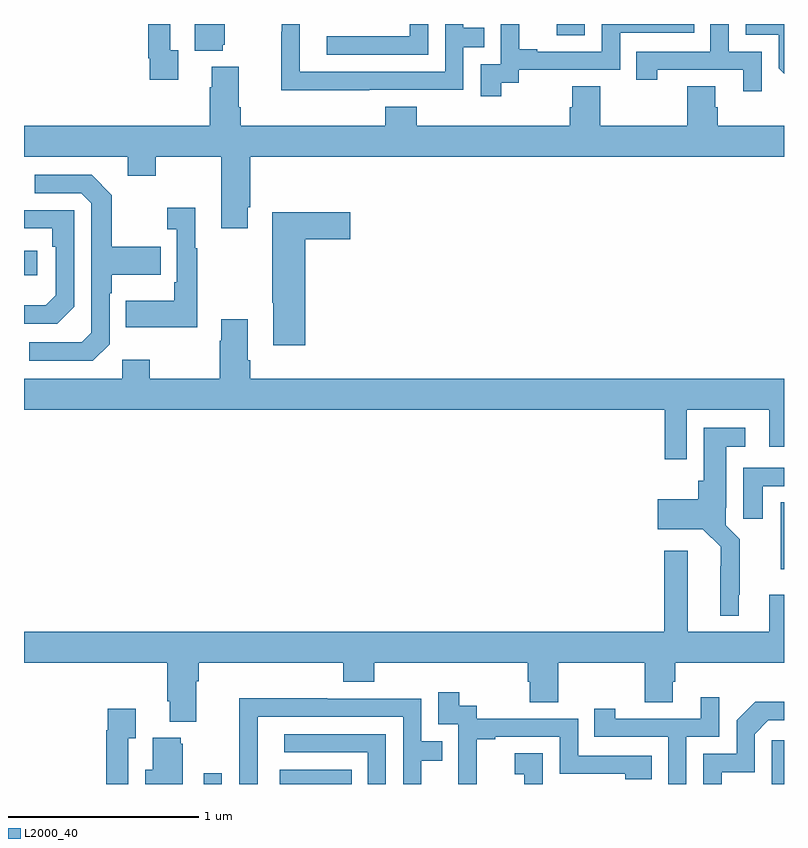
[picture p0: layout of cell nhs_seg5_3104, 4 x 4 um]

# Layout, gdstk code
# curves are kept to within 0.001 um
import gdstk
lib = gdstk.Library(unit=1e-6, precision=1e-09)
def R(c, l, rs):  # rectangles x0, y0, x1, y1
    for r in rs: c.add(gdstk.rectangle(r[:2], r[2:], *l))
def P(c, l, *ps):  # polygons
    for p in ps: c.add(gdstk.Polygon(p, *l))
L2000_40 = (2000, 40)

nhs_seg5_3104 = lib.new_cell('nhs_seg5_3104')
R(nhs_seg5_3104, L2000_40, [(291.945,846.799,292.041,846.856), (292.346,846.799,292.724,846.874), (294.936,846.799,295,847.03), (294.983,847.929,295,848.282), (291,849.476,291.07,849.606), (293.805,850.74,293.952,850.799)])
P(nhs_seg5_3104, L2000_40, [(292.817,850.452),(293.313,850.452),(293.313,850.677),(293.423,850.677),(293.423,850.778),(293.313,850.778),(293.313,850.799),(293.217,850.799),(293.217,850.548),(292.452,850.548),(292.452,850.799),(292.356,850.799),(292.356,850.757),(292.354,850.757),(292.354,850.451),(292.817,850.451)],
  [(295,850.799),(294.798,850.799),(294.798,850.743),(294.972,850.743),(294.972,850.566),(295,850.538)],
  [(293.127,850.799),(293.031,850.799),(293.031,850.734),(292.593,850.734),(292.593,850.638),(293.127,850.638)],
  [(291.811,850.662),(291.771,850.662),(291.771,850.799),(291.655,850.799),(291.655,850.618),(291.663,850.618),(291.663,850.506),(291.811,850.506)],
  [(293.512,850.489),(293.604,850.489),(293.604,850.557),(294.138,850.557),(294.138,850.752),(294.527,850.752),(294.527,850.799),(294.042,850.799),(294.042,850.653),(293.701,850.653),(293.701,850.666),(293.606,850.666),(293.606,850.799),(293.508,850.799),(293.508,850.587),(293.403,850.587),(293.403,850.419),(293.512,850.419)],
  [(292.046,850.689),(292.057,850.689),(292.057,850.799),(291.899,850.799),(291.899,850.658),(292.046,850.658)],
  [(294.882,850.653),(294.708,850.653),(294.708,850.799),(294.612,850.799),(294.612,850.653),(294.223,850.653),(294.223,850.506),(294.334,850.506),(294.334,850.557),(294.785,850.557),(294.785,850.446),(294.882,850.446)],
  [(292.142,850.36),(292.129,850.36),(292.129,850.573),(291.989,850.573),(291.989,850.466),(291.977,850.466),(291.977,850.264),(291,850.264),(291,850.1),(291.545,850.1),(291.545,850.001),(291.693,850.001),(291.693,850.1),(292.037,850.1),(292.037,849.723),(292.177,849.723),(292.177,849.835),(292.19,849.835),(292.19,850.1),(295,850.1),(295,850.264),(294.65,850.264),(294.65,850.362),(294.637,850.362),(294.637,850.472),(294.49,850.472),(294.49,850.264),(294.033,850.264),(294.033,850.472),(293.885,850.472),(293.885,850.362),(293.873,850.362),(293.873,850.264),(293.066,850.264),(293.066,850.363),(292.901,850.363),(292.901,850.264),(292.142,850.264)],
  [(291.45,849.114),(291.45,849.383),(291.463,849.383),(291.463,849.479),(291.719,849.479),(291.719,849.627),(291.463,849.627),(291.463,849.899),(291.357,850.005),(291.057,850.005),(291.057,849.909),(291.3,849.909),(291.354,849.855),(291.354,849.174),(291.303,849.123),(291.027,849.123),(291.027,849.027),(291.363,849.027)],
  [(291.913,849.619),(291.901,849.619),(291.901,849.832),(291.753,849.832),(291.753,849.719),(291.804,849.719),(291.804,849.439),(291.792,849.439),(291.792,849.343),(291.535,849.343),(291.535,849.203),(291.913,849.203)],
  [(291.264,849.312),(291.264,849.819),(291,849.819),(291,849.723),(291.148,849.723),(291.148,849.626),(291.168,849.626),(291.168,849.372),(291.115,849.319),(291,849.319),(291,849.222),(291.174,849.222)],
  [(292.481,849.665),(292.717,849.665),(292.717,849.807),(292.306,849.807),(292.306,849.331),(292.313,849.331),(292.313,849.108),(292.481,849.108)],
  [(294.489,848.768),(294.923,848.768),(294.923,848.574),(295,848.574),(295,848.932),(292.19,848.932),(292.19,849.028),(292.177,849.028),(292.177,849.244),(292.037,849.244),(292.037,849.131),(292.03,849.131),(292.03,848.932),(291.663,848.932),(291.663,849.031),(291.516,849.031),(291.516,848.932),(291,848.932),(291,848.768),(294.373,848.768),(294.373,848.508),(294.489,848.508)],
  [(294.763,847.795),(294.767,847.795),(294.767,848.086),(294.693,848.16),(294.693,848.254),(294.697,848.254),(294.697,848.573),(294.796,848.573),(294.796,848.674),(294.578,848.674),(294.578,848.394),(294.548,848.394),(294.548,848.299),(294.336,848.299),(294.336,848.141),(294.573,848.141),(294.666,848.048),(294.665,847.685),(294.763,847.685)],
  [(294.889,848.367),(295,848.367),(295,848.463),(294.785,848.463),(294.785,848.196),(294.889,848.196)],
  [(291.907,847.34),(291.92,847.34),(291.92,847.436),(292.679,847.436),(292.679,847.337),(292.844,847.337),(292.844,847.436),(293.651,847.436),(293.651,847.338),(293.663,847.338),(293.663,847.228),(293.811,847.228),(293.811,847.436),(294.268,847.436),(294.268,847.228),(294.415,847.228),(294.415,847.338),(294.428,847.338),(294.428,847.436),(295,847.436),(295,847.795),(294.923,847.795),(294.923,847.6),(294.493,847.6),(294.493,848.026),(294.371,848.026),(294.371,847.6),(291,847.6),(291,847.436),(291.755,847.436),(291.755,847.234),(291.767,847.234),(291.767,847.127),(291.907,847.127)],
  [(293.384,847.035),(293.479,847.035),(293.479,847.047),(293.82,847.047),(293.82,846.852),(294.165,846.852),(294.165,846.825),(294.305,846.825),(294.305,846.948),(293.916,846.948),(293.916,847.143),(293.382,847.143),(293.382,847.212),(293.29,847.212),(293.29,847.282),(293.181,847.282),(293.181,847.113),(293.286,847.113),(293.286,846.884),(293.285,846.884),(293.285,846.799),(293.384,846.799)],
  [(294.486,847.047),(294.66,847.047),(294.66,847.255),(294.563,847.255),(294.563,847.143),(294.112,847.143),(294.112,847.195),(294.001,847.195),(294.001,847.047),(294.39,847.047),(294.39,846.799),(294.486,846.799)],
  [(292.23,847.152),(292.995,847.152),(292.995,846.799),(293.091,846.799),(293.091,846.922),(293.201,846.922),(293.201,847.023),(293.091,847.023),(293.091,847.248),(292.595,847.248),(292.595,847.25),(292.132,847.25),(292.132,846.943),(292.134,846.943),(292.134,846.799),(292.23,846.799)],
  [(294.673,846.861),(294.846,846.861),(294.846,847.062),(294.918,847.134),(295,847.134),(295,847.232),(294.848,847.232),(294.75,847.134),(294.75,846.957),(294.576,846.957),(294.576,846.799),(294.673,846.799)],
  [(291.549,847.039),(291.589,847.039),(291.589,847.195),(291.441,847.195),(291.441,847.082),(291.433,847.082),(291.433,846.799),(291.549,846.799)],
  [(292.905,847.062),(292.371,847.062),(292.371,846.966),(292.809,846.966),(292.809,846.799),(292.905,846.799)],
  [(291.835,847.011),(291.824,847.011),(291.824,847.042),(291.677,847.042),(291.677,846.874),(291.638,846.874),(291.638,846.799),(291.835,846.799)],
  [(293.73,846.961),(293.583,846.961),(293.583,846.851),(293.632,846.851),(293.632,846.799),(293.73,846.799)])

lib.write_gds('nhs_seg5_3104.gds')
